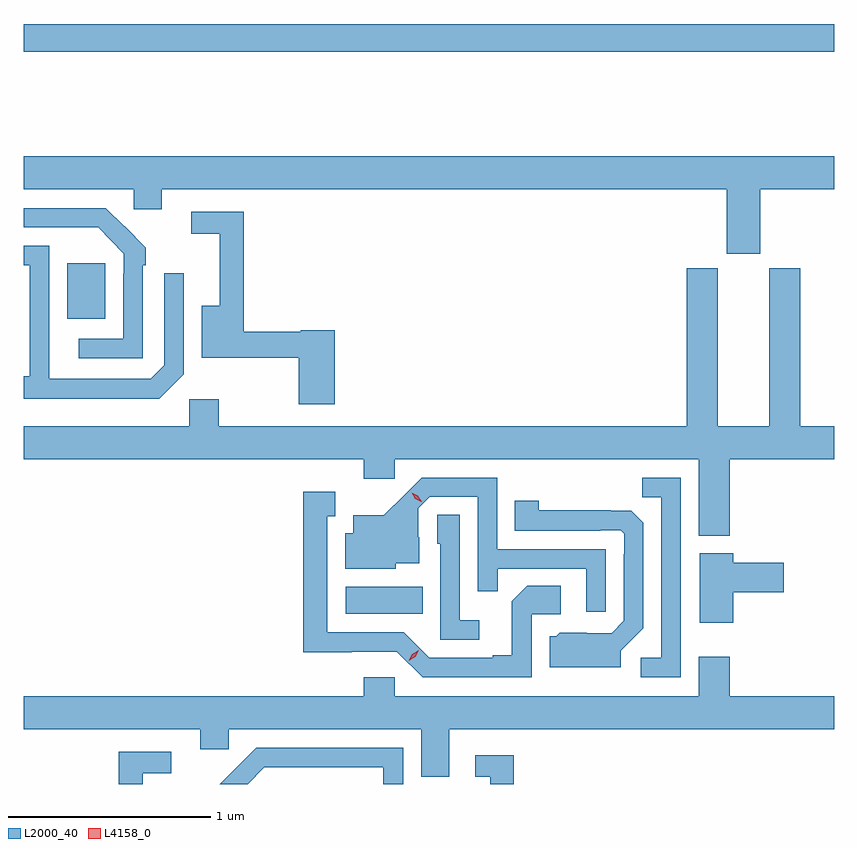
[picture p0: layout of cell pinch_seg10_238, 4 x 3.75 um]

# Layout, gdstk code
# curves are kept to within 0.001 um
import gdstk
lib = gdstk.Library(unit=1e-6, precision=1e-09)
def R(c, l, rs):  # rectangles x0, y0, x1, y1
    for r in rs: c.add(gdstk.rectangle(r[:2], r[2:], *l))
def P(c, l, *ps):  # polygons
    for p in ps: c.add(gdstk.Polygon(p, *l))
L2000_40 = (2000, 40)
L4158_0 = (4158, 0)

pinch_seg10_238 = lib.new_cell('pinch_seg10_238')
R(pinch_seg10_238, L2000_40, [(593.808,1307.546,594.188,1307.68), (592.433,1309.001,592.621,1309.276), (592.218,1310.32,596.218,1310.456)])
P(pinch_seg10_238, L2000_40, [(595.852,1309.64),(596.218,1309.64),(596.218,1309.804),(592.218,1309.804),(592.218,1309.64),(592.761,1309.64),(592.761,1309.542),(592.9,1309.542),(592.9,1309.64),(595.688,1309.64),(595.688,1309.323),(595.852,1309.323)],
  [(592.806,1309.265),(592.821,1309.265),(592.821,1309.353),(592.624,1309.548),(592.218,1309.548),(592.218,1309.452),(592.585,1309.452),(592.713,1309.323),(592.713,1309.223),(592.71,1309.223),(592.71,1308.903),(592.491,1308.903),(592.491,1308.807),(592.806,1308.807)],
  [(593.753,1308.946),(593.586,1308.946),(593.586,1308.938),(593.303,1308.938),(593.303,1309.53),(593.046,1309.53),(593.046,1309.422),(593.186,1309.422),(593.186,1309.066),(593.096,1309.066),(593.096,1308.81),(593.575,1308.81),(593.575,1308.579),(593.753,1308.579)],
  [(593.007,1308.729),(593.007,1309.225),(592.911,1309.225),(592.911,1308.771),(592.845,1308.705),(592.345,1308.705),(592.344,1309.362),(592.218,1309.362),(592.218,1309.266),(592.248,1309.266),(592.248,1308.718),(592.218,1308.718),(592.218,1308.608),(592.886,1308.608)],
  [(595.703,1308.308),(596.218,1308.308),(596.218,1308.472),(596.051,1308.472),(596.051,1309.251),(595.898,1309.251),(595.898,1308.472),(595.642,1308.472),(595.642,1309.251),(595.49,1309.251),(595.49,1308.472),(593.181,1308.472),(593.181,1308.604),(593.034,1308.604),(593.034,1308.472),(592.218,1308.472),(592.218,1308.308),(593.897,1308.308),(593.897,1308.213),(594.048,1308.213),(594.048,1308.308),(595.55,1308.308),(595.55,1307.93),(595.703,1307.93)],
  [(595.089,1307.865),(594.555,1307.865),(594.555,1308.216),(594.182,1308.216),(593.995,1308.031),(593.843,1308.031),(593.843,1307.944),(593.804,1307.944),(593.804,1307.768),(594.054,1307.768),(594.054,1307.795),(594.169,1307.795),(594.169,1307.924),(594.165,1307.924),(594.165,1308.066),(594.222,1308.123),(594.459,1308.123),(594.459,1307.656),(594.557,1307.656),(594.557,1307.769),(594.993,1307.769),(594.993,1307.556),(595.089,1307.556)],
  [(595.461,1308.216),(595.27,1308.216),(595.27,1308.121),(595.365,1308.121),(595.365,1307.328),(595.263,1307.328),(595.263,1307.232),(595.461,1307.232)],
  [(594.726,1307.544),(594.868,1307.544),(594.868,1307.684),(594.703,1307.684),(594.627,1307.608),(594.627,1307.341),(594.533,1307.341),(594.533,1307.328),(594.219,1307.328),(594.093,1307.454),(593.716,1307.454),(593.716,1308.027),(593.755,1308.027),(593.755,1308.148),(593.598,1308.148),(593.598,1307.357),(594.06,1307.358),(594.186,1307.232),(594.726,1307.232)],
  [(595.165,1307.364),(595.275,1307.474),(595.275,1307.996),(595.216,1308.055),(594.759,1308.056),(594.759,1308.103),(594.64,1308.103),(594.64,1307.955),(595.064,1307.955),(595.064,1307.958),(595.164,1307.958),(595.182,1307.94),(595.182,1307.84),(595.179,1307.84),(595.179,1307.511),(595.119,1307.451),(594.862,1307.452),(594.846,1307.436),(594.815,1307.436),(594.815,1307.282),(595.165,1307.282)],
  [(594.466,1307.515),(594.369,1307.515),(594.369,1308.035),(594.258,1308.035),(594.258,1307.892),(594.273,1307.892),(594.273,1307.418),(594.466,1307.418)],
  [(595.72,1307.651),(595.969,1307.651),(595.969,1307.798),(595.72,1307.798),(595.72,1307.845),(595.553,1307.845),(595.553,1307.502),(595.72,1307.502)],
  [(594.319,1306.976),(596.218,1306.976),(596.218,1307.14),(595.703,1307.14),(595.703,1307.335),(595.55,1307.335),(595.55,1307.14),(594.048,1307.14),(594.048,1307.233),(593.897,1307.233),(593.897,1307.14),(592.218,1307.14),(592.218,1306.976),(593.09,1306.976),(593.09,1306.878),(593.229,1306.878),(593.229,1306.976),(594.179,1306.976),(594.179,1306.741),(594.319,1306.741)],
  [(593.406,1306.788),(593.993,1306.788),(593.993,1306.706),(594.09,1306.706),(594.09,1306.884),(593.366,1306.884),(593.275,1306.793),(593.274,1306.794),(593.186,1306.706),(593.324,1306.706)],
  [(592.805,1306.758),(592.945,1306.758),(592.945,1306.866),(592.687,1306.866),(592.687,1306.706),(592.805,1306.706)],
  [(594.635,1306.849),(594.447,1306.849),(594.447,1306.743),(594.519,1306.743),(594.519,1306.706),(594.635,1306.706)])
P(pinch_seg10_238, L4158_0, [(594.18,1308.098),(594.15,1308.113),(594.132,1308.143),(594.132,1308.143),(594.132,1308.143),(594.163,1308.128),(594.181,1308.098),(594.181,1308.098)],
  [(594.118,1307.315),(594.118,1307.315),(594.136,1307.347),(594.168,1307.366),(594.168,1307.366),(594.168,1307.366),(594.15,1307.333),(594.118,1307.315)])

lib.write_gds('pinch_seg10_238.gds')
